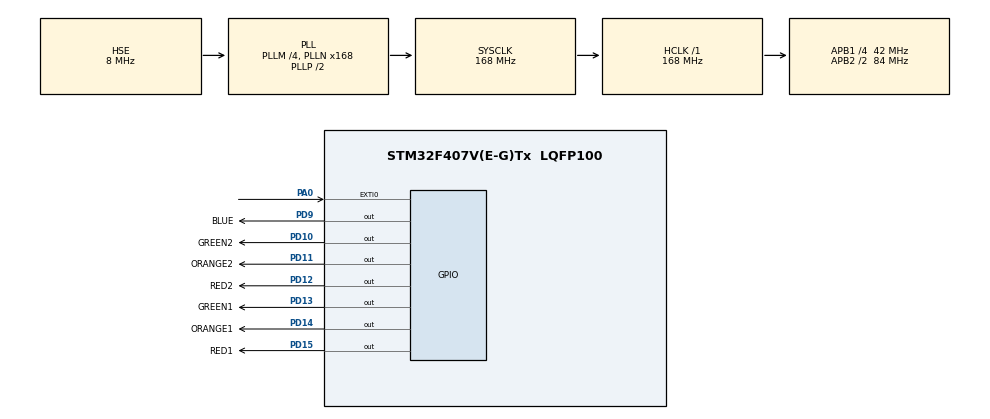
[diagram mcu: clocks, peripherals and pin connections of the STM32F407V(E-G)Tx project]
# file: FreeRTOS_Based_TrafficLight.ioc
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FREERTOS.BinarySemaphores01=myBinarySem01,Dynamic,NULL
FREERTOS.Mutexes01=myMutex01,Dynamic,NULL
FREERTOS.Tasks01=TrafficLight1,0,128,StartTrafficLight1,Default,NULL,Dynamic,NULL,NULL;TrafficLight2,0,128,StartTrafficLight2,Default,NULL,Dynamic,NULL,NULL
FREERTOS.configUSE_NEWLIB_REENTRANT=0
Mcu.Family=STM32F4
Mcu.Name=STM32F407V(E-G)Tx
Mcu.Package=LQFP100
NVIC.EXTI0_IRQn=true\:5\:0\:false\:false\:true\:true\:true\:true\:true
NVIC.PriorityGroup=NVIC_PRIORITYGROUP_4
NVIC.TIM1_UP_TIM10_IRQn=true\:15\:0\:false\:false\:true\:false\:false\:true\:true
NVIC.TimeBase=TIM1_UP_TIM10_IRQn
NVIC.TimeBaseIP=TIM1
PA0-WKUP.Signal=GPXTI0
PA13.Mode=Serial_Wire
PA13.Signal=SYS_JTMS-SWDIO
PA14.Mode=Serial_Wire
PA14.Signal=SYS_JTCK-SWCLK
PD10.GPIO_Label=GREEN2
PD10.Signal=GPIO_Output
PD11.GPIO_Label=ORANGE2
PD11.Signal=GPIO_Output
PD12.GPIO_Label=RED2
PD12.Signal=GPIO_Output
PD13.GPIO_Label=GREEN1
PD13.Signal=GPIO_Output
PD14.GPIO_Label=ORANGE1
PD14.Signal=GPIO_Output
PD15.GPIO_Label=RED1
PD15.Signal=GPIO_Output
PD9.GPIO_Label=BLUE
PD9.Signal=GPIO_Output
PH0-OSC_IN.Mode=HSE-External-Oscillator
PH0-OSC_IN.Signal=RCC_OSC_IN
PH1-OSC_OUT.Mode=HSE-External-Oscillator
PH1-OSC_OUT.Signal=RCC_OSC_OUT
ProjectManager.HeapSize=0x200
ProjectManager.StackSize=0x400
ProjectManager.TargetToolchain=STM32CubeIDE
RCC.48MHZClocksFreq_Value=84000000
RCC.AHBFreq_Value=168000000
RCC.APB1CLKDivider=RCC_HCLK_DIV4
RCC.APB1Freq_Value=42000000
RCC.APB1TimFreq_Value=84000000
RCC.APB2CLKDivider=RCC_HCLK_DIV2
RCC.APB2Freq_Value=84000000
RCC.APB2TimFreq_Value=168000000
RCC.CortexFreq_Value=168000000
RCC.HCLKFreq_Value=168000000
RCC.HSE_VALUE=8000000
RCC.HSI_VALUE=16000000
RCC.LSE_VALUE=32768
RCC.PLLM=4
RCC.PLLN=168
RCC.PLLSourceVirtual=RCC_PLLSOURCE_HSE
RCC.SYSCLKFreq_VALUE=168000000
RCC.SYSCLKSource=RCC_SYSCLKSOURCE_PLLCLK
RCC.VCOOutputFreq_Value=336000000
VP_FREERTOS_VS_CMSIS_V1.Mode=CMSIS_V1
VP_SYS_VS_tim1.Mode=TIM1
board=custom

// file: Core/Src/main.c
/* USER CODE BEGIN Header */
/**
  ******************************************************************************
  * @file           : main.c
  * @brief          : Main program body
  ******************************************************************************
  * @attention
  *
  * Copyright (c) 2024 STMicroelectronics.
  * All rights reserved.
  *
  * This software is licensed under terms that can be found in the LICENSE file
  * in the root directory of this software component.
  * If no LICENSE file comes with this software, it is provided AS-IS.
  *
  ******************************************************************************
  */
/* USER CODE END Header */
#include "main.h"
#include "cmsis_os.h"

/* USER CODE BEGIN Includes */

uint8_t button_control = 0;

/* USER CODE END Includes */

osThreadId TrafficLight1Handle;
osThreadId TrafficLight2Handle;
osMutexId myMutex01Handle;
osSemaphoreId myBinarySem01Handle;

void SystemClock_Config(void);
static void MX_GPIO_Init(void);
void StartTrafficLight1(void const * argument);
void StartTrafficLight2(void const * argument);

int main(void)
{

  /* MCU Configuration--------------------------------------------------------*/

  /* Reset of all peripherals, Initializes the Flash interface and the Systick. */
  HAL_Init();

  /* Configure the system clock */
  SystemClock_Config();

  /* Initialize all configured peripherals */
  MX_GPIO_Init();

  /* Create the mutex(es) */
  /* definition and creation of myMutex01 */
  osMutexDef(myMutex01);
  myMutex01Handle = osMutexCreate(osMutex(myMutex01));

  /* Create the semaphores(s) */
  /* definition and creation of myBinarySem01 */
  osSemaphoreDef(myBinarySem01);
  myBinarySem01Handle = osSemaphoreCreate(osSemaphore(myBinarySem01), 1);

  /* Create the thread(s) */
  /* definition and creation of TrafficLight1 */
  osThreadDef(TrafficLight1, StartTrafficLight1, osPriorityNormal, 0, 128);
  TrafficLight1Handle = osThreadCreate(osThread(TrafficLight1), NULL);

  /* definition and creation of TrafficLight2 */
  osThreadDef(TrafficLight2, StartTrafficLight2, osPriorityNormal, 0, 128);
  TrafficLight2Handle = osThreadCreate(osThread(TrafficLight2), NULL);

  /* Start scheduler */
  osKernelStart();

  /* We should never get here as control is now taken by the scheduler */

  /* Infinite loop */
  while (1)
  {

  }
}

void SystemClock_Config(void)
{
  RCC_OscInitTypeDef RCC_OscInitStruct = {0};
  RCC_ClkInitTypeDef RCC_ClkInitStruct = {0};

  /** Configure the main internal regulator output voltage
  */
  __HAL_RCC_PWR_CLK_ENABLE();
  __HAL_PWR_VOLTAGESCALING_CONFIG(PWR_REGULATOR_VOLTAGE_SCALE1);

  /** Initializes the RCC Oscillators according to the specified parameters
  * in the RCC_OscInitTypeDef structure.
  */
  RCC_OscInitStruct.OscillatorType = RCC_OSCILLATORTYPE_HSE;
  RCC_OscInitStruct.HSEState = RCC_HSE_ON;
  RCC_OscInitStruct.PLL.PLLState = RCC_PLL_ON;
  RCC_OscInitStruct.PLL.PLLSource = RCC_PLLSOURCE_HSE;
  RCC_OscInitStruct.PLL.PLLM = 4;
  RCC_OscInitStruct.PLL.PLLN = 168;
  RCC_OscInitStruct.PLL.PLLP = RCC_PLLP_DIV2;
  RCC_OscInitStruct.PLL.PLLQ = 4;
  if (HAL_RCC_OscConfig(&RCC_OscInitStruct) != HAL_OK)
  {
    Error_Handler();
  }

  /** Initializes the CPU, AHB and APB buses clocks
  */
  RCC_ClkInitStruct.ClockType = RCC_CLOCKTYPE_HCLK|RCC_CLOCKTYPE_SYSCLK
                              |RCC_CLOCKTYPE_PCLK1|RCC_CLOCKTYPE_PCLK2;
  RCC_ClkInitStruct.SYSCLKSource = RCC_SYSCLKSOURCE_PLLCLK;
  RCC_ClkInitStruct.AHBCLKDivider = RCC_SYSCLK_DIV1;
  RCC_ClkInitStruct.APB1CLKDivider = RCC_HCLK_DIV4;
  RCC_ClkInitStruct.APB2CLKDivider = RCC_HCLK_DIV2;

  if (HAL_RCC_ClockConfig(&RCC_ClkInitStruct, FLASH_LATENCY_5) != HAL_OK)
  {
    Error_Handler();
  }
}

static void MX_GPIO_Init(void)
{
  GPIO_InitTypeDef GPIO_InitStruct = {0};

  /* GPIO Ports Clock Enable */
  __HAL_RCC_GPIOH_CLK_ENABLE();
  __HAL_RCC_GPIOA_CLK_ENABLE();
  __HAL_RCC_GPIOD_CLK_ENABLE();

  /*Configure GPIO pin Output Level */
  HAL_GPIO_WritePin(GPIOD, BLUE_Pin|GREEN2_Pin|ORANGE2_Pin|RED2_Pin
                          |GREEN1_Pin|ORANGE1_Pin|RED1_Pin, GPIO_PIN_RESET);

  /*Configure GPIO pin : PA0 */
  GPIO_InitStruct.Pin = GPIO_PIN_0;
  GPIO_InitStruct.Mode = GPIO_MODE_IT_RISING;
  GPIO_InitStruct.Pull = GPIO_NOPULL;
  HAL_GPIO_Init(GPIOA, &GPIO_InitStruct);

  /*Configure GPIO pins : BLUE_Pin GREEN2_Pin ORANGE2_Pin RED2_Pin
                           GREEN1_Pin ORANGE1_Pin RED1_Pin */
  GPIO_InitStruct.Pin = BLUE_Pin|GREEN2_Pin|ORANGE2_Pin|RED2_Pin
                          |GREEN1_Pin|ORANGE1_Pin|RED1_Pin;
  GPIO_InitStruct.Mode = GPIO_MODE_OUTPUT_PP;
  GPIO_InitStruct.Pull = GPIO_NOPULL;
  GPIO_InitStruct.Speed = GPIO_SPEED_FREQ_LOW;
  HAL_GPIO_Init(GPIOD, &GPIO_InitStruct);

  /* EXTI interrupt init*/
  HAL_NVIC_SetPriority(EXTI0_IRQn, 5, 0);
  HAL_NVIC_EnableIRQ(EXTI0_IRQn);

}

/* USER CODE BEGIN 4 */

// Interrupt Service Routine
void HAL_GPIO_EXTI_Callback(uint16_t GPIO_Pin)
{
  button_control = 1;

}

/* USER CODE END 4 */

void StartTrafficLight1(void const * argument)
{
  /* USER CODE BEGIN 5 */

  /* Infinite loop */
  for(;;)
  {
	  osSemaphoreWait(myMutex01Handle, 0);

		  HAL_GPIO_WritePin(GPIOD,GPIO_PIN_13,GPIO_PIN_RESET);
		  HAL_GPIO_WritePin(GPIOD,GPIO_PIN_15,GPIO_PIN_SET);
		  HAL_Delay(1000);
		  HAL_GPIO_WritePin(GPIOD,GPIO_PIN_15,GPIO_PIN_RESET);
		  HAL_GPIO_WritePin(GPIOD,GPIO_PIN_14,GPIO_PIN_SET);
		  HAL_Delay(1000);
		  HAL_GPIO_WritePin(GPIOD,GPIO_PIN_14,GPIO_PIN_RESET);
		  HAL_GPIO_WritePin(GPIOD,GPIO_PIN_13,GPIO_PIN_SET);
		  HAL_Delay(1000);
		  // xSemaphoreGive(myBinarySem01Handle);
	  osSemaphoreRelease(myMutex01Handle);

	  osDelay(2000);
  }
  /* USER CODE END 5 */
}

void StartTrafficLight2(void const * argument)
{
  /* USER CODE BEGIN StartTrafficLight2 */

  /* Infinite loop */
  for(;;)
  {
	  osSemaphoreWait(myMutex01Handle, 0);
		  HAL_GPIO_WritePin(GPIOD,GPIO_PIN_10,GPIO_PIN_RESET);
		  HAL_GPIO_WritePin(GPIOD,GPIO_PIN_12,GPIO_PIN_SET);
		  HAL_Delay(1000);
		  HAL_GPIO_WritePin(GPIOD,GPIO_PIN_12,GPIO_PIN_RESET);
		  HAL_GPIO_WritePin(GPIOD,GPIO_PIN_11,GPIO_PIN_SET);
		  HAL_Delay(1000);
		  HAL_GPIO_WritePin(GPIOD,GPIO_PIN_11,GPIO_PIN_RESET);
		  HAL_GPIO_WritePin(GPIOD,GPIO_PIN_10,GPIO_PIN_SET);
		  HAL_Delay(1000);

		//   xSemaphoreGive(myBinarySem01Handle);
		  osSemaphoreRelease(myMutex01Handle);

	  osDelay(2000);
  }
  /* USER CODE END StartTrafficLight2 */
}

void HAL_TIM_PeriodElapsedCallback(TIM_HandleTypeDef *htim)
{
  if (htim->Instance == TIM1) {
    HAL_IncTick();
  }
}

void Error_Handler(void)
{
  __disable_irq();
  while (1)
  {
  }
}
